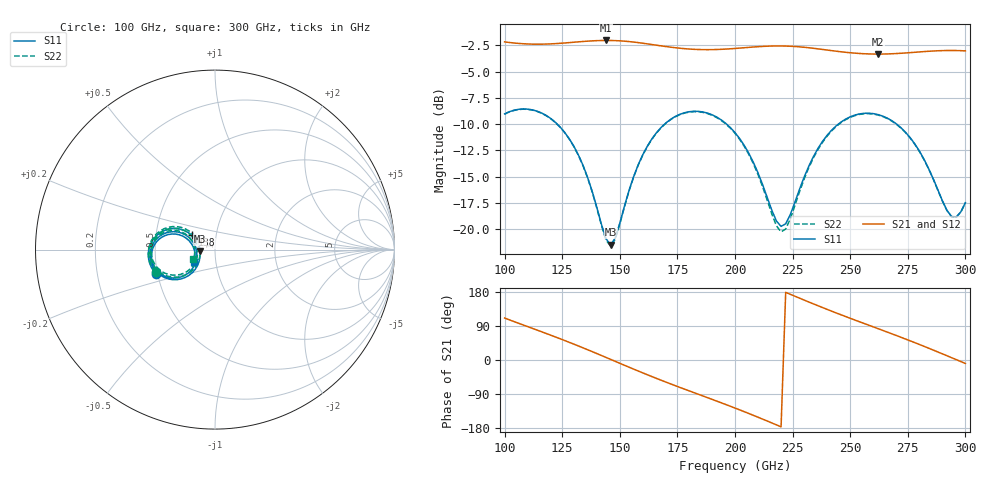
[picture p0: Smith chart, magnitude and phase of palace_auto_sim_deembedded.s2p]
! Created with skrf 1.11.0 (http://scikit-rf.org).
# GHz S DB R 50.0
!freq dBS11 angS11 dBS21 angS21 dBS12 angS12 dBS22 angS22
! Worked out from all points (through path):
!   101 points, 100 GHz to 300 GHz, reference 50 ohm
!   highest |S21| = -2.02 dB at 144 GHz (marker M1); lowest = -3.3 dB at 262 GHz (marker M2)
!   group delay of S21, straight-line fit = 6.68 ps
!   lowest |S11| = -21.5 dB at 146 GHz (marker M3), VSWR 1.18, Z = 42.3 - j0.87 ohm
!   |S11| at or under -10 dB: 122.8 GHz to 169.5 GHz (46.61 GHz wide, 31.9 % of centre); 196.4 GHz to 244.9 GHz (48.51 GHz wide, 22 % of centre); 270.2 GHz to end of sweep
!   |S22| runs from -21.6 to -8.6 dB; largest |S21 - S12| = 4e-16
!   S11 on the Smith chart (normalised r, x): 100 GHz: 0.49, -0.15; 138 GHz: 0.76, +0.12; 300 GHz: 0.79, -0.11
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100  -9.02 -157.1  -2.16 110.7  -2.16 110.7  -9.04 -159.2
108  -8.55 -171.8  -2.33 92.6  -2.33 92.6  -8.57 -174.1
118  -9.17 170.4  -2.37 70.1  -2.37 70.1  -9.19 167.9
126  -10.77 157.3  -2.26 51.5  -2.26 51.5  -10.79 154.5
134  -13.91 148.0  -2.12 32.2  -2.12 32.2  -13.95 145.0
138  -16.40 148.3  -2.06 22.2  -2.06 22.2  -16.46 145.1
144  -20.93 170.4  -2.02 6.8  -2.02 6.8  -21.05 167.1
146  -21.50 -173.0  -2.03 1.7  -2.03 1.7  -21.64 -176.0
158  -13.87 -135.2  -2.23 -29.1  -2.23 -29.1  -13.91 -138.3
168  -10.30 -147.6  -2.54 -53.5  -2.54 -53.5  -10.33 -151.0
184  -8.78 -174.1  -2.88 -90.2  -2.88 -90.2  -8.82 -178.1
200  -10.81 161.1  -2.79 -126.8  -2.79 -126.8  -10.87 156.4
210  -14.66 153.5  -2.62 -151.0  -2.62 -151.0  -14.81 148.0
220  -19.75 -174.9  -2.55 -176.4  -2.55 -176.4  -20.27 -179.4
224  -18.63 -151.9  -2.57 173.4  -2.57 173.4  -19.04 -154.9
234  -13.11 -139.6  -2.77 148.2  -2.77 148.2  -13.23 -142.9
248  -9.52 -156.8  -3.15 114.7  -3.15 114.7  -9.58 -161.0
262  -9.09 -178.6  -3.32 82.9  -3.32 82.9  -9.13 176.7
268  -9.66 172.4  -3.29 69.3  -3.29 69.3  -9.70 167.6
280  -12.56 158.5  -3.12 41.0  -3.12 41.0  -12.59 153.3
294  -18.81 -177.9  -2.98 6.1  -2.98 6.1  -18.84 176.4
300  -17.49 -149.8  -3.02 -9.1  -3.02 -9.1  -17.52 -155.7
